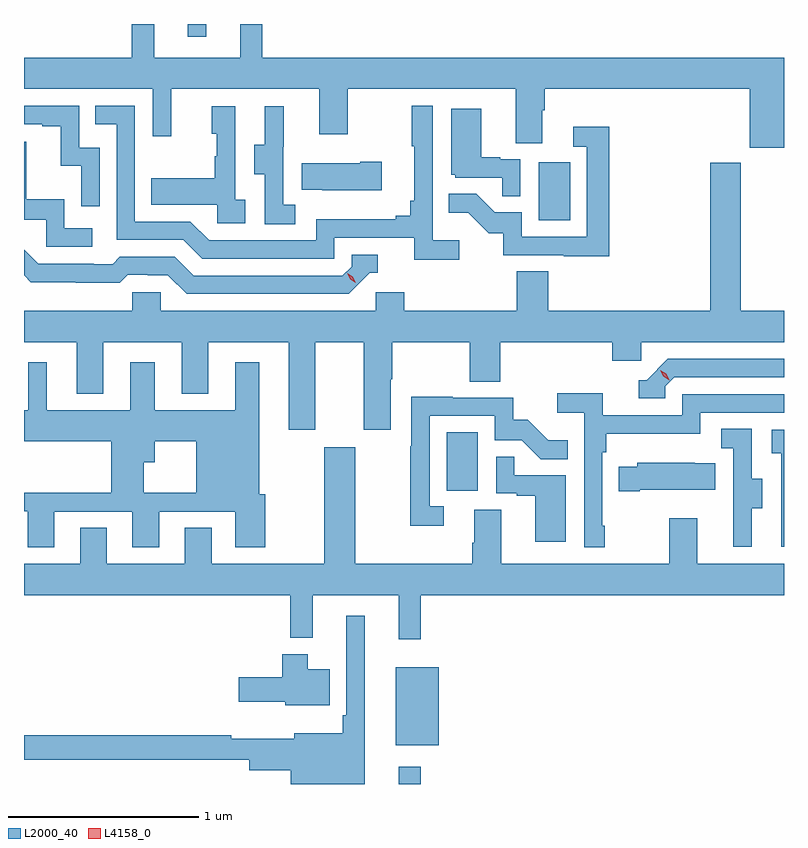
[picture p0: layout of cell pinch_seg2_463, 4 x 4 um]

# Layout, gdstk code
import gdstk
lib = gdstk.Library(unit=1e-6, precision=1e-09)
def R(c, l, rs):  # rectangles x0, y0, x1, y1
    for r in rs: c.add(gdstk.rectangle(r[:2], r[2:], *l))
def P(c, l, *ps):  # polygons
    for p in ps: c.add(gdstk.Polygon(p, *l))
L2000_40 = (2000, 40)
L4158_0 = (4158, 0)

pinch_seg2_463 = lib.new_cell('pinch_seg2_463')
R(pinch_seg2_463, L2000_40, [(952.058,597.358,952.175,597.448), (952.043,597.563,952.27,597.973), (952.31,598.902,952.474,599.209), (952.796,600.324,952.96,600.631), (950.948,601.29,951.045,601.358)])
P(pinch_seg2_463, L2000_40, [(951.341,601.358),(951.224,601.358),(951.224,601.18),(950.771,601.18),(950.771,601.358),(950.653,601.358),(950.653,601.18),(950.086,601.18),(950.086,601.016),(950.763,601.016),(950.763,600.768),(950.861,600.768),(950.861,601.016),(951.641,601.016),(951.641,600.777),(951.789,600.777),(951.789,601.016),(952.673,601.016),(952.673,600.73),(952.813,600.73),(952.813,600.904),(952.826,600.904),(952.826,601.016),(953.906,601.016),(953.906,600.707),(954.086,600.707),(954.086,601.18),(951.341,601.18)],
  [(952.378,600.22),(952.236,600.22),(952.236,600.928),(952.128,600.928),(952.128,600.715),(952.139,600.715),(952.139,600.427),(952.12,600.427),(952.12,600.35),(952.043,600.35),(952.043,600.331),(951.624,600.331),(951.624,600.219),(951.06,600.219),(950.961,600.318),(950.67,600.318),(950.67,600.927),(950.461,600.927),(950.461,600.831),(950.574,600.831),(950.574,600.222),(950.924,600.222),(951.023,600.123),(951.72,600.123),(951.72,600.234),(952.139,600.234),(952.139,600.118),(952.378,600.118)],
  [(950.484,600.708),(950.376,600.708),(950.376,600.927),(950.086,600.927),(950.086,600.831),(950.183,600.831),(950.183,600.819),(950.279,600.819),(950.279,600.611),(950.388,600.611),(950.388,600.399),(950.484,600.399)],
  [(951.25,600.434),(951.198,600.434),(951.198,600.925),(951.074,600.925),(951.074,600.78),(951.1,600.78),(951.1,600.662),(951.09,600.662),(951.09,600.547),(950.755,600.547),(950.755,600.407),(951.102,600.407),(951.102,600.309),(951.25,600.309)],
  [(951.514,600.407),(951.45,600.407),(951.45,600.711),(951.452,600.711),(951.452,600.925),(951.353,600.925),(951.353,600.723),(951.299,600.723),(951.299,600.568),(951.354,600.568),(951.354,600.304),(951.514,600.304)],
  [(952.698,600.645),(952.592,600.645),(952.592,600.658),(952.492,600.658),(952.492,600.913),(952.334,600.913),(952.334,600.564),(952.356,600.564),(952.356,600.549),(952.603,600.549),(952.603,600.451),(952.698,600.451)],
  [(953.165,600.817),(952.977,600.817),(952.977,600.711),(953.049,600.711),(953.049,600.237),(952.707,600.237),(952.707,600.366),(952.563,600.366),(952.465,600.464),(952.321,600.464),(952.321,600.365),(952.425,600.365),(952.532,600.258),(952.609,600.258),(952.609,600.141),(952.927,600.141),(952.927,600.136),(953.165,600.136)],
  [(950.446,600.282),(950.298,600.282),(950.298,600.436),(950.099,600.436),(950.099,600.739),(950.086,600.739),(950.086,600.327),(950.202,600.327),(950.202,600.186),(950.446,600.186)],
  [(951.97,600.633),(951.857,600.633),(951.857,600.625),(951.547,600.625),(951.547,600.485),(951.655,600.485),(951.655,600.482),(951.97,600.482)],
  [(952.844,600.056),(952.679,600.056),(952.679,599.848),(952.088,599.848),(952.088,599.946),(951.936,599.946),(951.936,599.848),(950.805,599.848),(950.805,599.946),(950.655,599.946),(950.655,599.848),(950.086,599.848),(950.086,599.684),(950.363,599.684),(950.363,599.411),(950.503,599.411),(950.503,599.684),(950.915,599.684),(950.915,599.411),(951.055,599.411),(951.055,599.684),(951.479,599.684),(951.479,599.223),(951.619,599.223),(951.619,599.684),(951.875,599.684),(951.875,599.223),(952.015,599.223),(952.015,599.488),(952.023,599.488),(952.023,599.684),(952.432,599.684),(952.432,599.476),(952.592,599.476),(952.592,599.684),(953.183,599.684),(953.183,599.586),(953.334,599.586),(953.334,599.684),(954.086,599.684),(954.086,599.848),(953.859,599.848),(953.859,600.628),(953.699,600.628),(953.699,599.848),(952.844,599.848)],
  [(951.906,600.048),(951.949,600.048),(951.949,600.144),(951.81,600.144),(951.81,600.081),(951.762,600.033),(950.979,600.033),(950.88,600.132),(950.591,600.132),(950.552,600.093),(950.453,600.093),(950.453,600.096),(950.16,600.096),(950.086,600.17),(950.086,600.035),(950.122,599.999),(950.358,599.999),(950.358,599.997),(950.591,599.997),(950.633,600.039),(950.736,600.039),(950.736,600.036),(950.843,600.036),(950.942,599.937),(951.795,599.937)],
  [(953.46,599.451),(953.508,599.499),(954.086,599.499),(954.086,599.595),(953.475,599.595),(953.364,599.484),(953.321,599.484),(953.321,599.388),(953.46,599.388)],
  [(950.245,598.791),(950.657,598.791),(950.657,598.605),(950.797,598.605),(950.797,598.791),(951.197,598.791),(951.197,598.605),(951.357,598.605),(951.357,598.884),(951.325,598.884),(951.325,599.578),(951.197,599.578),(951.197,599.326),(950.773,599.326),(950.773,599.578),(950.645,599.578),(950.645,599.326),(950.206,599.326),(950.206,599.578),(950.108,599.578),(950.108,599.326),(950.086,599.326),(950.086,599.162),(950.546,599.162),(950.546,598.892),(950.716,598.892),(950.716,599.051),(950.773,599.051),(950.773,599.162),(950.993,599.162),(950.993,598.892),(950.716,598.892),(950.546,598.892),(950.086,598.892),(950.086,598.794),(950.105,598.794),(950.105,598.605),(950.245,598.605)],
  [(953.143,598.717),(953.13,598.717),(953.13,599.105),(953.15,599.105),(953.15,599.201),(953.646,599.201),(953.646,599.313),(954.086,599.313),(954.086,599.409),(953.55,599.409),(953.55,599.298),(953.132,599.298),(953.132,599.414),(952.893,599.414),(952.893,599.312),(953.034,599.312),(953.034,598.605),(953.143,598.605)],
  [(952.294,598.821),(952.221,598.821),(952.221,599.295),(952.563,599.295),(952.563,599.166),(952.707,599.166),(952.805,599.068),(952.949,599.068),(952.949,599.167),(952.845,599.167),(952.738,599.274),(952.662,599.274),(952.662,599.391),(952.343,599.391),(952.343,599.396),(952.125,599.396),(952.125,599.135),(952.12,599.135),(952.12,598.716),(952.294,598.716)],
  [(953.917,598.81),(953.971,598.81),(953.971,598.965),(953.916,598.965),(953.916,599.228),(953.757,599.228),(953.757,599.125),(953.82,599.125),(953.82,598.821),(953.819,598.821),(953.819,598.608),(953.917,598.608)],
  [(954.086,599.223),(954.021,599.223),(954.021,599.099),(954.072,599.099),(954.072,598.608),(954.086,598.608)],
  [(952.175,598.352),(954.086,598.352),(954.086,598.516),(953.629,598.516),(953.629,598.756),(953.482,598.756),(953.482,598.516),(952.597,598.516),(952.597,598.802),(952.457,598.802),(952.457,598.628),(952.445,598.628),(952.445,598.516),(951.829,598.516),(951.829,599.131),(951.665,599.131),(951.665,598.516),(951.073,598.516),(951.073,598.706),(950.933,598.706),(950.933,598.516),(950.521,598.516),(950.521,598.706),(950.381,598.706),(950.381,598.516),(950.086,598.516),(950.086,598.352),(951.487,598.352),(951.487,598.127),(951.605,598.127),(951.605,598.352),(952.058,598.352),(952.058,598.119),(952.175,598.119)],
  [(952.936,598.983),(952.667,598.983),(952.667,599.081),(952.572,599.081),(952.572,598.887),(952.679,598.887),(952.679,598.875),(952.778,598.875),(952.778,598.632),(952.936,598.632)],
  [(953.326,598.907),(953.723,598.907),(953.723,599.047),(953.615,599.047),(953.615,599.05),(953.313,599.05),(953.313,599.029),(953.215,599.029),(953.215,598.9),(953.326,598.9)],
  [(951.88,598.243),(951.783,598.243),(951.783,597.721),(951.763,597.721),(951.763,597.625),(951.509,597.625),(951.509,597.596),(951.176,597.596),(951.176,597.614),(950.086,597.614),(950.086,597.486),(951.272,597.486),(951.272,597.431),(951.49,597.431),(951.49,597.358),(951.88,597.358)],
  [(951.694,597.961),(951.58,597.961),(951.58,598.042),(951.446,598.042),(951.446,597.921),(951.216,597.921),(951.216,597.791),(951.462,597.791),(951.462,597.773),(951.694,597.773)])
P(pinch_seg2_463, L4158_0, [(951.833,599.995),(951.802,600.014),(951.786,600.047),(951.786,600.047),(951.787,600.047),(951.817,600.028),(951.833,599.995),(951.833,599.995)],
  [(953.482,599.483),(953.451,599.503),(953.435,599.535),(953.435,599.536),(953.435,599.536),(953.466,599.516),(953.483,599.484),(953.483,599.483)])

lib.write_gds('pinch_seg2_463.gds')
